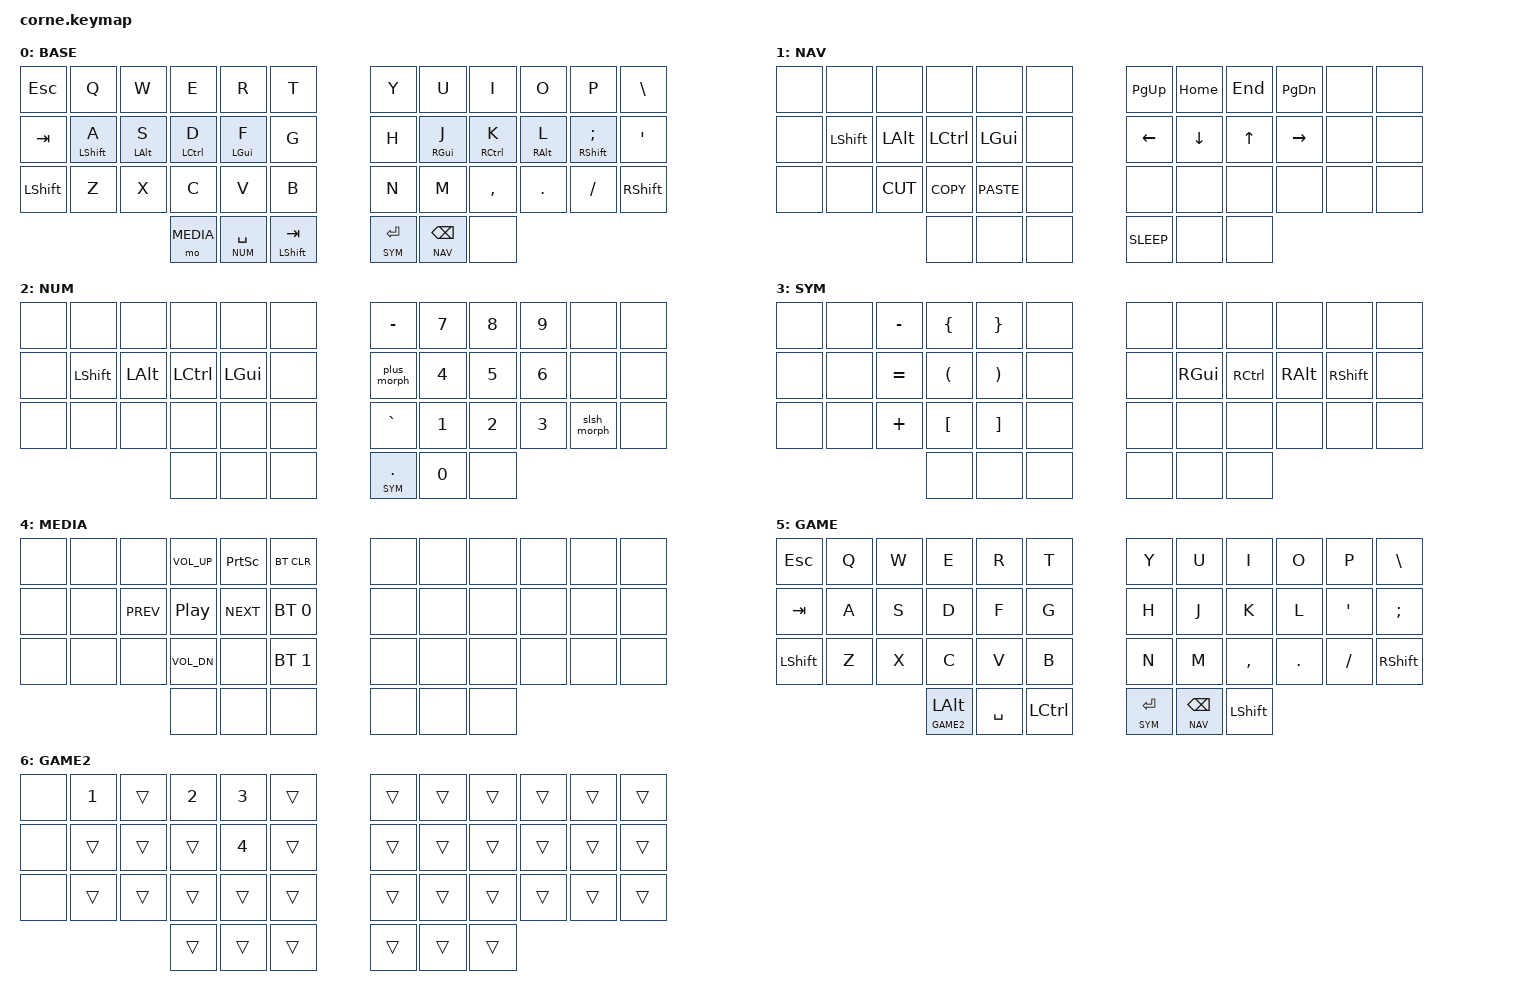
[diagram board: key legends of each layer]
// vim: set filetype=c:

#include <behaviors.dtsi>
#include <dt-bindings/zmk/keys.h>           // includes the keycodes
#include <dt-bindings/zmk/bt.h>             // includes the bluetooth codes

#include "zmk-helpers/helper.h"             // includes zmk-nodefree-config helpers (ZMK_BEHAVIOR)

#include "includes/settings.dtsi"           // includes personal settings
#include "includes/homerow-mods.dtsi"       // includes homerow mods
#include "includes/mod-morphs.dtsi"         // includes custom modifer keycodes

// Layer defintions
#define BASE 0
#define NAV 1
#define NUM 2
#define SYM 3
#define MEDIA 4
#define GAME 5
#define GAME2 6

ZMK_COMBO(del, &kp DEL, LM1 LM2, BASE NUM, 40)
ZMK_COMBO(bkspc, &kp BSPC, RM1 RM2, BASE NUM, 40)
ZMK_COMBO(caps, &caps_word_morph, LM1 RM1, BASE, 45)
ZMK_COMBO(gameLyr, &tog 5, LT5 RT5, BASE GAME, 60)

ZMK_LAYER(BASE, 
    &kp ESC    &kp Q                &kp W          &kp E           &kp R            &kp T           &kp Y           &kp U           &kp I           &kp O          &kp P                   &kp BSLH
    &kp TAB    &hrm_l_shft LSHFT A  &hrm_l LALT S  &hrm_l LCTRL D  &hrm_l LGUI F    &kp G           &kp H           &hrm_r RGUI J   &hrm_r RCTRL K  &hrm_r RALT L  &hrm_r_shft RSHFT SEMI  &kp SQT 
    &kp LSHFT  &kp Z                &kp X          &kp C           &kp V            &kp B           &kp N           &kp M           &kp COMMA       &kp DOT        &kp FSLH                &kp RSHFT
                                                   &mo MEDIA       &lt NUM SPACE    &mt LSHFT TAB   &lt SYM ENTER   &lt NAV BSPC    &none
)

ZMK_LAYER(NAV,
    &none  &none      &none      &none       &none        &none     &kp PG_UP    &kp HOME   &kp END  &kp PG_DN  &none  &none
    &none  &kp LSHFT  &kp LALT   &kp LCTRL   &kp LGUI     &none     &kp LEFT     &kp DOWN   &kp UP   &kp RIGHT  &none  &none
    &none  &none      &kp K_CUT  &kp K_COPY  &kp K_PASTE  &none     &none        &none      &none    &none      &none  &none
                                 &none       &none        &none     &kp C_SLEEP  &none      &none
)

ZMK_LAYER(NUM,
    &none  &none      &none     &none      &none     &none    &kp MINUS    &kp N7  &kp N8  &kp N9  &none        &none
    &none  &kp LSHFT  &kp LALT  &kp LCTRL  &kp LGUI  &none    &plus_morph  &kp N4  &kp N5  &kp N6  &none        &none
    &none  &none      &none     &none      &none     &none    &kp GRAVE    &kp N1  &kp N2  &kp N3  &slsh_morph  &none
                                &none      &none     &none    &mt SYM DOT  &kp N0  &none
)

ZMK_LAYER(SYM,
    &none  &none  &kp MINUS  &kp LBRC  &kp RBRC  &none    &none     &none       &none       &none       &none       &none
    &none  &none  &kp EQUAL  &kp LPAR  &kp RPAR  &none    &none     &kp RGUI    &kp RCTRL   &kp RALT    &kp RSHFT   &none
    &none  &none  &kp PLUS   &kp LBKT  &kp RBKT  &none    &none     &none       &none       &none       &none       &none
                             &none     &none     &none    &none     &none       &none
)

ZMK_LAYER(MEDIA,
    &none  &none  &none       &kp C_VOLUME_UP   &kp PSCRN   &bt BT_CLR      &none  &none  &none  &none  &none  &none
    &none  &none  &kp C_PREV  &kp C_PLAY_PAUSE  &kp C_NEXT  &bt BT_SEL 0    &none  &none  &none  &none  &none  &none
    &none  &none  &none       &kp C_VOL_DN      &none       &bt BT_SEL 1    &none  &none  &none  &none  &none  &none
                              &none             &none       &none           &none  &none  &none
)

ZMK_LAYER(GAME,
    &kp ESC    &kp Q  &kp W  &kp E           &kp R            &kp T         &kp Y          &kp U          &kp I      &kp O    &kp P     &kp BSLH
    &kp TAB    &kp A  &kp S  &kp D           &kp F            &kp G         &kp H          &kp J          &kp K      &kp L    &kp SQT   &kp SEMI 
    &kp LSHFT  &kp Z  &kp X  &kp C           &kp V            &kp B         &kp N          &kp M          &kp COMMA  &kp DOT  &kp FSLH  &kp RSHFT
                             &lt GAME2 LALT  &kp SPACE    &kp LCTRL     &lt SYM ENTER  &lt NAV BSPC   &kp LSHFT
)

ZMK_LAYER(GAME2,
    &none  &kp N1  &trans  &kp N2  &kp N3  &trans      &trans  &trans  &trans  &trans  &trans  &trans
    &none  &trans  &trans  &trans  &kp N4  &trans      &trans  &trans  &trans  &trans  &trans  &trans 
    &none  &trans  &trans  &trans  &trans  &trans      &trans  &trans  &trans  &trans  &trans  &trans
                           &trans  &trans  &trans      &trans  &trans  &trans
)
